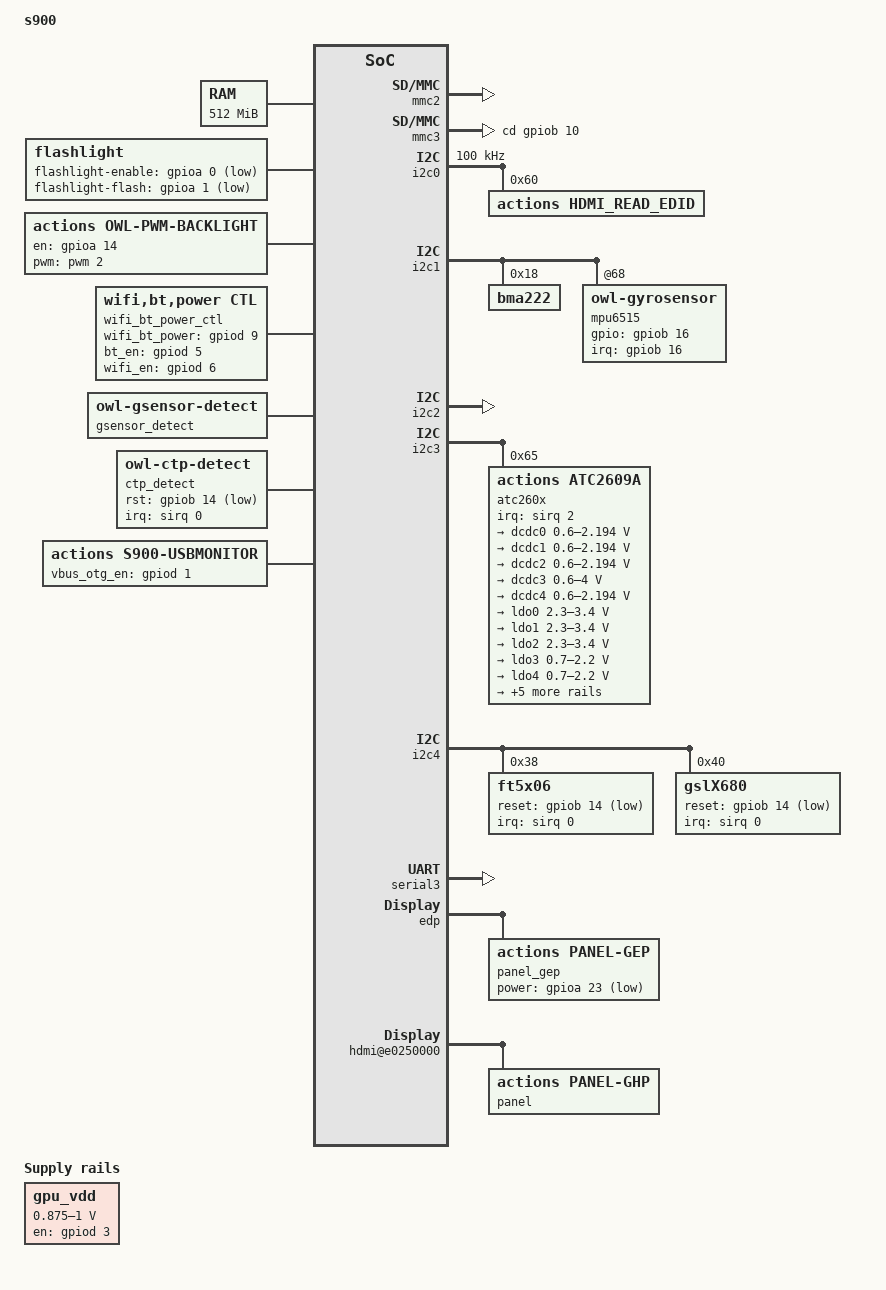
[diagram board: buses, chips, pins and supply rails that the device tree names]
/*
 * Copyright (C) 2014 Actions Semi. Inc
 *
 * This program is free software; you can redistribute it and/or
 * modify it under the terms of the GNU General Public License as
 * published by the Free Software Foundation version 2.
 *
 * This program is distributed "as is" WITHOUT ANY WARRANTY of any
 * kind, whether express or implied; without even the implied warranty
 * of MERCHANTABILITY or FITNESS FOR A PARTICULAR PURPOSE.  See the
 * GNU General Public License for more details.
 */

/dts-v1/;

/* reserve 48MB for logo(fb) */
/memreserve/ 0x19000000 0x03000000;

/* reserve 48MB for ion0(fb) */
/memreserve/ 0x1C000000 0x03000000;

/* reserve 512MB for ion1(pmem) */
/memreserve/ 0x20000000 0x20000000;

/* reserve 4k for afinfo */
/memreserve/ 0x18FFF000 0x1000;

#include "s900.dtsi"

/ {
	model = "s900";
	compatible = "actions,s900", "actions,s900-evb";

	chosen {
		bootargs="console=ttyS5,115200 earlyprintk=serial-owl,0xe012a000 no_console_suspend selinux=1";
	};

	memory@00000000 {
		device_type = "memory";
		reg = <0 0x00000000 0 0x20000000>;
	};

	ion_config {
		compatible = "actions,s900-ion";
		actions,ion_heap_fb_base = <0x1c000000>;
		actions,ion_heap_fb_size = <0x03000000>;
		actions,ion_heap_pmem_base = <0x20000000>;
		actions,ion_heap_pmem_size = <0x20000000>;
	};

	mbr {
		compatible = "actions,mbr_table";
	};

	gpiod: gpiod@e01b0000 {
		pinctrl-names = "default";
		pinctrl-0 = <&pinctrl_gpio_lvds_o>;
	};

	pinctrl@e01b0000 {
		pinctrl_i2c4: i2c4 {
			i2c4_mfp {
				actions,groups = "mfp3_8";
				actions,function = "i2c4";
			};

			i2c4_pull {
				actions,pins = "P_UART4_RX", "P_UART4_TX";
				actions,pull = <2>;
			};
		};
	};

	pwm: pwm@e01b0000 {
		pwm2 {
			id = <2>;
			pinctrl-names = "default";
			pinctrl-0 = <&pwm2_state_default>;
		};
	};

	mmc0: mmc@e0338000 {
		card-type = "emmc";
		status = "disabled";
	};

	mmc1: mmc@e033c000 {
		card-type = "emmc";
		status = "disabled";
	};

	mmc2: mmc@e0334000 {
		card-type = "wifi";
		wifi-card-voltage = "1.8v";  /* only: "1.8v", "3.1v" */
		status = "okay";
	};

	mmc3: mmc@e0330000 {
		card-type = "memory";  /* only: "memory", "wifi", or "emmc" */
		card-detect-mode = "gpio";  /* only: "sirq", "gpio", or "command" */
		cd-gpios = <&gpiob 10 0>; /*hr280ac GPIOB10 */
		sd_vcc = "ldo0";
		status = "okay";
	};

	i2c0: i2c@e0170000 {
		clock-frequency = <100000>;
		status = "okay";
		hdmi_read_edid@60 {
			compatible = "actions,hdmi_read_edid";
			reg = <0x60>;
		};
	};

	i2c1: i2c@e0172000 {
		status = "okay";
		bma222@18 {
			compatible = "bma222";
			reg = <0x18>;
			position = "-1";
			calibration = <0 0 0>;
		};

		mpu6515@68 {
			compatible = "owl-gyrosensor";
			interrupt-parent = <&gpiob>;
			interrupts = <16>;
			gpios = <&gpiob 16 0>; /* GPIOB16 */
			i2c_adapter_id = <1>;
			MASTER_inv6515_position = "-3";
			SECONDARY_ak8963c_position = "-4";
		};
	};

	i2c2: i2c@e0174000 {
		status = "okay";
	};

	i2c3: i2c@e0176000 {
		status = "okay";
		/* atc2609a (5303) */
		atc260x: atc2609a@65 {
			compatible = "actions,atc2609a","actions,atc260x";
			reg = <0x65>;
			interrupt-parent = <&sirq>;
			interrupts = <2>;
			interrupt-controller;
			#interrupt-cells = <1>;

			losc_32k_output_enable = <1>;    /* enable/disable output 32.768K clock via AUXIN1 pin */

			pm {
				compatible = "actions,atc2609a-pm";
			};

			onoff {
				compatible = "actions,atc2609a-onoff";
			};

			rtc{
				compatible = "actions,atc2609a-rtc";
			};

			atc260x_gpio{
				compatible = "actions,atc2609a-gpio";
			};

			atc260x-adckeypad{
#define KEY_HOME				102
#define KEY_MENU				139
#define KEY_BACK				158
#define KEY_VOLUMEDOWN				114
#define KEY_VOLUMEUP				115
				keymapsize = <2>;                   /* number of ADC key */
				filter_dep = <3>;                   /* depth of the moving average filter (length of filter queue) */
				variance = <15>;                    /* filter will not output until the difference between every two ADC samples in the filter queue goes below this value */
				poll_interval =  <20>;              /* sample period, in ms */
				left_adc_val =  <0 3300>;           /* for key code translator, each value defines a lower bound of ADC value of a key */
				right_adc_val = <100 3700>;          /* for key code translator, each value defines a upper bound of ADC value of a key */
				key_val = <KEY_VOLUMEUP KEY_VOLUMEDOWN>; /* for key code translator, each value defines the key_code of a key */
				adc_channel_name = "AUX0";          /* the ADC channel used for sampling, valid names are REMCON AUX0 AUX1 AUX2 (AUX3) */
				compatible = "actions,atc2609a-adckeypad";
				key_check_mode = <1>;              /*  0:  GPIO key;  1:  ADC key   */
			};

			/*the cfg params must be read	in the first installed ko,
			 now snd-soc-atv5302.ko is first installed.
			 1, earphone_detect_level use the third value of earphone_gpios
			 2, commonly, we shouldn't change the value of speaker_gain and earphone_gain*/

			atc260x-audio{
				compatible = "actions,atc2609a-audio";
				status = "okay";
                                pinctrl-names = "default";
                                pinctrl-0 = <&i2s0_state_default>;
				clocks = <&clock CLK_AUDIO_PLL>, <&clock CLK_HDMI_AUDIO>;
				clock-names = "audio_pll", "hdmia";
				earphone_detect_gpios = <&gpiob 11 0>; /*0: high, 1: low hr280ac GPIOB11 0*/
				speaker_en_gpios = <&gpioa 19 1>; /*hr280ac GPIOA(19) 0: high, 1: low*/
				earphone_output_mode = <0>; /*0: direct mode, 1: undirect mode*/
				mic_num = <1>; /*just suport 1, 2*/
				mic0_gain = < 0x7 0x7 >; /*<Lchannel,Rchannel> [0x0~0xF]*/
				speaker_gain = < 0xaa 0xaa >; /*<Lchannel,Rchannel>[0x00~0xbebe]*/
				earphone_gain = < 0xbe 0xbe >; /*<Lchannel,Rchannel>[0x00~0xbebe]*/
				speaker_volume = < 0x28 0x28 >; /*volume [0x00~0x28]*/
				earphone_volume = < 0x28 0x28 >; /*volume [0x00~0x28]*/
				earphone_detect_mode = <0>;  /*0: polling,   1: interrupt*/
			};

			atc260x-hwmon{
				compatible = "actions,atc2609a-hwmon";
			};

			atc260x-charger{
				compatible = "actions,atc2609a-charger";
				rsense = <20>;/*unit:mohm*/
				bat_type = <1>;/*0:4.18v; 1:4.2v; 2:4.3v; 3:4.35v*/
				bl_on_current_usb_pc = <300>;
				bl_off_current_usb_pc = <500>;
				bl_on_current_usb_adp = <300>;
				bl_off_current_usb_adp = <800>;
				bl_on_current_wall_adp = <300>;
				bl_off_current_wall_adp = <1500>;
				support_adaptor_type = <3>; /*1: DCIN  2: USB  3:DCIN+USB*/
				ext_charger = <0>;
				usb_adapter_as_ac = <1>;/*0:usb ada keep itself; 1:usb ada used as DCIN when usb plug and batv<3.3v during minicharge*/
				usb_pc_ctl_mode = <1>; /*0:disable vbus ctl;1:current limited;2:voltage limited*/
			};

			atc2609a-battery{
				compatible = "actions,atc2609a-battery";
				ocv_table = <2972 3603 3683 3689 3715 3738 3765 3767 3796 3825 3872 3930 3981 4053 4118 4197>;/*mv*/
				r_table = <99 99 86 83 82 81 84 86 82 82 96 105 92 86 81 80>;/*mohm*/
				design_capacity = <7000>;/*unit:mAh*/
				taper_vol = <4180>;/*unit:mv*/
				taper_cur = <300>;/*unit:ma*/
				term_vol = <3400>;/*unit:mv*/
				ov_protect = <4275>;/*unit:mv*/
				sleep_current = <15000>;/*unit:ua*/
				shutdown_current = <50>;/*unit:ua*/
				boot_cap_threshold = <3>;
				bl_on_vol = <3300>;/*unit:mv*/
				print_switch = <0>;
				log_switch = <1>;
			};

			/* DCDC0       VDD_CORE
			 * DCDC1       VDD_CPU
			 * DCDC2       VDDR
			 * DCDC3       VCC
			 * DCDC4       VDD_CPUM
			 */
			dcdc0: dcdc0 {
				compatible = "actions,atc2609a-dcdc0","actions,atc2609a-dcdc";
				regulator-name = "dcdc0";
				regulator-min-microvolt = <600000>;
				regulator-max-microvolt = <2193750>;
				regulator-always-on;
			};

			dcdc1: dcdc1 {
				compatible = "actions,atc2609a-dcdc1","actions,atc2609a-dcdc";
				regulator-name = "dcdc1";
				regulator-min-microvolt = <600000>;
				regulator-max-microvolt = <2193750>;
				regulator-always-on;
			};

			dcdc2: dcdc2 {
				compatible = "actions,atc2609a-dcdc2","actions,atc2609a-dcdc";
				regulator-name = "dcdc2";
				regulator-min-microvolt = <600000>;
				regulator-max-microvolt = <2193750>;
				regulator-always-on;
			};

			dcdc3: dcdc3 {
				compatible = "actions,atc2609a-dcdc3","actions,atc2609a-dcdc";
				regulator-name = "dcdc3";
				regulator-min-microvolt = <600000>;
				regulator-max-microvolt = <4000000>;
				regulator-always-on;
			};

			dcdc4: dcdc4 {
				compatible = "actions,atc2609a-dcdc4","actions,atc2609a-dcdc";
				regulator-name = "dcdc4";
				regulator-min-microvolt = <600000>;
				regulator-max-microvolt = <2193750>;
				regulator-always-on;
			};

			/* LDO0        SD_VCC     3.1v
			 * LDO1        SENS_AVDD  2.8v
			 * LDO2        AVCC       3.1v
			 * LDO3        5303_VDD   1.0v
			 * LDO4        AVCC_1V8   1.8v
			 * LDO5
			 * LDO6        AVDD_1V0   1.0v
			 * LDO7        SENS_DVDD  1.8v
			 * LDO8        TP_VCC     3.1v
			 * LDO9        RTC_VDD    3.1v   */

			ldo0: ldo0{
				compatible = "actions,atc2609a-ldo0","actions,atc2609a-ldo";
				regulator-name = "ldo0";
				regulator-min-microvolt  = <2300000>;
				regulator-max-microvolt = <3400000>;
				regulator-always-on;
			};

			ldo1: ldo1{
				compatible = "actions,atc2609a-ldo1","actions,atc2609a-ldo";
				regulator-name = "ldo1";
				regulator-min-microvolt  = <2300000>;
				regulator-max-microvolt = <3400000>;
				regulator-always-on;
				regulator-suspend-off;
			};

			ldo2: ldo2{
				compatible = "actions,atc2609a-ldo2","actions,atc2609a-ldo";
				regulator-name = "ldo2";
				regulator-min-microvolt  = <2300000>;
				regulator-max-microvolt = <3400000>;
				regulator-always-on;
			};

			ldo3: ldo3{
				compatible = "actions,atc2609a-ldo3","actions,atc2609a-ldo";
				regulator-name = "ldo3";
				regulator-min-microvolt  = <700000>;
				regulator-max-microvolt = <2200000>;
				regulator-always-on;
			};

			ldo4: ldo4{
				compatible = "actions,atc2609a-ldo4","actions,atc2609a-ldo";
				regulator-name = "ldo4";
				regulator-min-microvolt  = <700000>;
				regulator-max-microvolt = <2200000>;
				regulator-always-on;
			};

			ldo5: ldo5{
				compatible = "actions,atc2609a-ldo5","actions,atc2609a-ldo";
				regulator-name = "ldo5";
				regulator-min-microvolt  = <700000>;
				regulator-max-microvolt = <2200000>;
			};

			ldo6: ldo6{
				compatible = "actions,atc2609a-ldo6","actions,atc2609a-ldo";
				regulator-name = "ldo6";
				regulator-min-microvolt  = <850000>;
				regulator-max-microvolt = <2200000>;
				regulator-always-on;
			};

			ldo7: ldo7{
				compatible = "actions,atc2609a-ldo7","actions,atc2609a-ldo";
				regulator-name = "ldo7";
				regulator-min-microvolt  = <700000>;
				regulator-max-microvolt = <2200000>;
				regulator-always-on;
				regulator-suspend-off;
			};

			ldo8: ldo8{
				compatible = "actions,atc2609a-ldo8","actions,atc2609a-ldo";
				regulator-name = "ldo8";
				regulator-min-microvolt  = <2100000>;
				regulator-max-microvolt = <3300000>;
			};

			ldo9: ldo9{
				compatible = "actions,atc2609a-ldo9","actions,atc2609a-ldo";
				regulator-name = "ldo9";
				regulator-min-microvolt  = <2600000>;
				regulator-max-microvolt = <3300000>;
				regulator-always-on;
			};
		};
	};

	i2c4: i2c@e0178000 {
		pinctrl-names = "default";
		pinctrl-0 = <&pinctrl_i2c4>;
		status = "okay";

		ft5x06@38 {
			compatible = "ft5x06";
			reg = <0x38>;
			tp_vcc = "ldo8";
			reset_gpios = <&gpiob 14 1>; /*GPIOB(14) 0: high, 1: low*/
			x_pixel = <800>;
			y_pixel = <1280>;
			x_revert_en = <1>;
			y_revert_en = <0>;
			xy_swap_en = <1>;
			rotate_degree = <0>;  /* 0 90 180 270 */
			interrupt-parent = <&sirq>;
			interrupts = < 0 0x4 >; /*SIRQ0*/
			vol_range = <3100000 3110000>;
		};

		gslX680@40 {
			compatible = "gslX680";
			reg = <0x40>;
			tp_vcc = "ldo8";
			reset_gpios = <&gpiob 14 1>;/*GPIOB(14) 0: high, 1: low*/
			x_pixel = <1536>;
			y_pixel = <2048>;
			x_revert_en = <1>;
			y_revert_en = <0>;
			xy_swap_en = <0>;
			rotate_degree = <0>;     /* 0 90 180 270 */
			interrupt-parent = <&sirq>;
			interrupts = < 0 0x4 >; /*SIRQ0*/
			vol_range = <3100000 3110000>;
		};
	};

	serial3: uart@e0126000 {
		dmas = <&dma DMA_DRQ_UART3_TX>, <&dma DMA_DRQ_UART3_RX>;
		dma-names = "tx", "rx";
		status = "okay";
	};

	flashlight {
		compatible = "flashlight";
		flashlight-enable = <&gpioa 0 1>; /* GPIOA0 */
		flashlight-flash  = <&gpioa 1 1>; /* GPIOA1 */
		status = "okay";
	};

	isp0: isp@e0270000 {
		mirror_flip = <3>;  /* bit-0:rear camera; bit-1:front camera; 0: no flip,no mirror; 1: no flip,horizontal mirror; 2:vertical flip,no mirror; 3: vertical flip,horizontal mirror */

		avdd-src = "gpio";  /* only: "gpio", "regulator" */
		avdd-gpios = <&gpioa 18 1>; /* GPIOA18 */

		board_type = "evb";/* "ces" or "evb"*/
		sensors = "dual"; /* "dual", "front" or "rear" */
		pwdn-rear-gpios = <&gpioa 27 1>; /* GPIOA27 */
		pwdn-front-gpios = <&gpioa 26 1>; /* GPIOA26 */
		reset-gpios = <&gpiob 15 1>; /*GPIOB15*/

		pinctrl-names = "default";
		pinctrl-0 = <&mipi_csi0_state_default>, <&mipi_csi1_state_default>;

		status = "okay"; /* create platform-device */
	};

	sensors: isp-sensor {
		compatible = "sensor_common";
		i2c_adapter = <&i2c2>; /* 0-3 begin from enabled ones */

		status = "disabled";
	};

	edp: edp@e02e0000 {
		panel_configs = <&config0>;

		/*
		 * edp_configs, used to configure edp controller,
		 * its values should set according to edp panel's spec.
		 * Currently, the configration is for lg-lp097qx1 panel.
		 */
		config0: edp_configs {
			link_rate = <0>;	/* 0, 1.62G; 1, 2.7G; 2, 5.4G */

			lane_count = <4>;
			lane_polarity = <0x0>;	/* bit map for lanes' polarity,
						   0 normal, 1 reversed */
			lane_mirror = <1>;	/* lane mirror, 0 lane0~3, 1 lane3~0 */

			mstream_polarity = <0x3>;/* bit map for mstream's polarity,
						   bit1: vsync, bit0 hsync */
			user_sync_polarity = <0xc>;/* bit map for user sync's polarity,
						    * bit3: sync signal polarity,
						    * bit2: enable signal polarity,
						    * bit1: vsync polarity,
						    * bit0: hsync polarity
						    */

			pclk_parent = <0>;	/* 0, ASSIST_PLL, 1, DISPLAY PLL */
			pclk_rate = <200000000>;/* 200MHz, ASSIST_PLL, divider 2.5 */
		};

		/* lg-lp097qx1 edp panel */
		panel_gep: edp_panel {
			compatible = "actions,panel-gep";

			/* panel's fixed info */
			width_mm = <197>;
			height_mm = <147>;
			bpp = <18>;

			/* operation delay in ms */
			power_on_delay = <0>;
			power_off_delay = <0>;
			enable_delay = <0>;
			disable_delay = <0>;

			power-gpio = <&gpioa 23 1>;/* GPIOA23, low power on */

         		videomode-0 = <&mode0>;

			/* 2048x1536p60 */
			mode0: videomode {
				refresh_rate = <60>;

				xres = <2048>;
				yres = <1536>;

				/*
				 * pclk_rate = 200MHz, ASSIS_PLL, divider 2.5
				 * pixel_clock = picoseconds / pclk_rate
				 */
				pixel_clock = <5000>;

				hsw = <5>;
				hbp = <44>;
				hfp = <48>;

				vsw = <10>;
				vbp = <6>;
				vfp = <2>;

				/* 0: FB_VMODE_NONINTERLACED, 1:FB_VMODE_INTERLACED */
				vmode = <0>;
			};
		};
	};

	backlight {
		compatible = "actions,owl-pwm-backlight";

		/* GPIOA14, active high */
		en-gpios = <&gpioa 14 0>;

		/*1.pwm num; 2. period in ns; */
		/*3.plarity, 0: high active, 1: low active*/
		pwms = <&pwm 2 50000 0>;

		total_steps = <1024>;
		min_brightness = <100>;
		max_brightness = <1000>;
		dft_brightness = <500>;

		delay_bf_pwm = <0>; /*in ms*/
		delay_af_pwm = <200>; /*in ms*/
	};

	wifi_bt_power_ctl {
		compatible = "wifi,bt,power,ctl";
		//bt_power_gpio = <&gpioa 16 0>;/*GPIOA20, high active*/   /*BT_WAKE*/
		wifi_bt_power_gpios = <&gpiod 9 0>; /*  GPIOd9 */
		bt_en_gpios = <&gpiod 5 0>;/*GPIOd5, high active*/  /*M3305 A17 reset pin*/
		wifi_en_gpios = <&gpiod 6 0>; /* GPIOd6*/
	};

	hdmi@e0250000 {
		tmds-avdd-supply = <&ldo4>;

		hdcp_onoff = <0>;
		channel_invert = <0>;
		bit_invert = <0>;

		panel@ghp {
			compatible = "actions,panel-ghp";

			bootenable = <0>;
			bootrotate = <0>;
		};
	};

	gsensor_detect {
		compatible = "owl-gsensor-detect";
		i2c_adapter_id = <1>;
		gsensor_detect_list {
			compatible = "gsensor_detect_list";
			afa750 =  <0>;
			bma220 =  <0>;
			bma222 =  <1>;
			bma250 =  <0>;
			dmard10 = <0>;
			kxtj9 =   <0>;
			lis3dh =  <0>;
			mc3210 =  <0>;
			mc3232 =  <0>;
			mc3236 =  <0>;
			mma7660 = <0>;
			mma8452 = <0>;
			stk8312 = <0>;
			stk8313 = <0>;
			mpu6515 = <1>;
		};
	};

	ctp_detect {
		compatible = "owl-ctp-detect";
		i2c_adapter_id = <4>;
		tp_vcc = "ldo8";
		rst_gpios = <&gpiob 14 1>;    /*GPIOB(14) 0: high, 1: low*/
		interrupt-parent = <&sirq>;
		interrupts = <0>; /*SIRQ0*/
		vol_range = <3100000 3110000>;

		ctp_detect_list {
			compatible = "ctp_detect_list";
			ICN83XX =  <0>;
			GSLX6X0 =  <1>;
			FT52-406 = <0>;
			FT5606 =   <0>;
			GT813 =    <0>;
			AW5206 =   <0>;
			AW5209 =   <0>;
			CT36X =    <0>;
			HL3X06 =   <0>;
			ILITEK =   <0>;
			ili2672 =  <0>;
			ft5x06 =   <0>;
			MT395 =    <0>;
			NT1100X =  <0>;
			SSD254X =  <0>;
	   };
	};

	monitor {
		compatible = "actions,s900-usbmonitor";
		detect_type = <3>; /* config what to detect, 0:DISABLE ; 1:DEVICE_ONLY; 2:HOST_ONLY; 3: HOST_AND_DEVICE*/
		idpin_type   = <0>; /* 0:use ic's idpin;      1:soft idpin,##no support!##;       2:gpio idpin,use gpio to detect,need to add a "idpin_gpio" configuration */
		vbus_type   = <2>; /* 0:use ic's vbuspin; 1:gpio vbus,##no support!## ;      2:use dc5v to detect vbus level*/

		/*vbus_otg_en_gpio is use to turn on/off otg vbus,it's different from vbus detect gpio;*/
		vbus_otg_en_gpios = <&gpiod 1 0>;  /* GPIOD1,  1: low active; 0: high active */
		//idpin_gpio = <&gpiob 31 1>;   /*if idpin detect by gpio,config the gpio to GPIOB31, input,0: low active; 1: high active*/
		status = "okay";
	};

	owl_usb_config {
		compatible = "actions,owl-usb-config";
		usb_serialnumber_config = <2>; /* config serialnumber string format, 0: fixed serial no in ascii format; 1: fixed serial no in unicode format; 2:non-fixed serial no in unicode format*/
		usb_hs_output_strength = <3>; /*defaut:3,range:0~7; 0:min,7:max;usb high speed(2.0)transmitter output strength*/
		status = "okay";
	};

 	usb2h0: usb@e02b0000 {
		vbus_otg_en_gpio = <&gpiod 9 0>; /*GPIO D9,1:high enable vubs,0:low enable vbus*/
		status = "disabled";
	};

	usb2h1: usb@e02c0000 {
		vbus_otg_en_gpio =<&gpiod 0 0>; /*GPIO D0*/
		port_host_plug_detect = <1>; /*0:disable 1:enable and vbus contrl 2:only detect,3:usbh0 and usb1 use the same vubs*/
		status = "disabled";
	};

	gpu_vdd: gpio-regulator {
	   compatible = "regulator-gpio";

	   regulator-name = "gpu-gpio-supply";
	   regulator-type = "voltage";
	   regulator-min-microvolt = <875000>;
	   regulator-max-microvolt = <1000000>;

	   enable-gpio = <&gpiod 3 0x4>;
	   gpios = <&gpioa 24 0x4>;
	   states = <875000 0x1
	   	     1000000 0x0>;

	   startup-delay-us = <2000>;
	   enable-active-high;
	};

	gpu@e0600000 {
		gpu-supply = <&gpu_vdd>;

		operating-points = <352000  875000
		                    528000 1000000>;
	};
};
